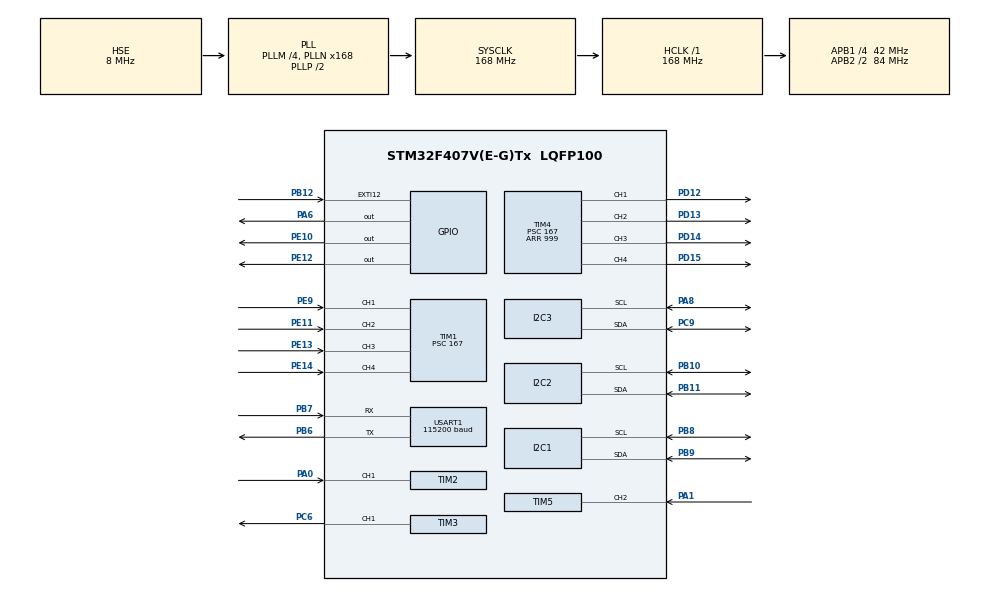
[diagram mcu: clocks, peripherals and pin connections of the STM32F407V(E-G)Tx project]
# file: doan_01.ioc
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Dma.I2C3_TX.0.Direction=DMA_MEMORY_TO_PERIPH
Dma.I2C3_TX.0.FIFOMode=DMA_FIFOMODE_DISABLE
Dma.I2C3_TX.0.Instance=DMA1_Stream4
Dma.I2C3_TX.0.MemDataAlignment=DMA_MDATAALIGN_BYTE
Dma.I2C3_TX.0.MemInc=DMA_MINC_ENABLE
Dma.I2C3_TX.0.Mode=DMA_NORMAL
Dma.I2C3_TX.0.PeriphDataAlignment=DMA_PDATAALIGN_BYTE
Dma.I2C3_TX.0.PeriphInc=DMA_PINC_DISABLE
Dma.I2C3_TX.0.Priority=DMA_PRIORITY_LOW
Dma.Request0=I2C3_TX
I2C2.I2C_Mode=I2C_Fast
I2C3.I2C_Mode=I2C_Fast
Mcu.Family=STM32F4
Mcu.Name=STM32F407V(E-G)Tx
Mcu.Package=LQFP100
NVIC.DMA1_Stream4_IRQn=true\:0\:0\:false\:false\:true\:false\:true\:true
NVIC.EXTI15_10_IRQn=true\:2\:0\:true\:false\:true\:true\:true\:true
NVIC.I2C3_ER_IRQn=true\:0\:0\:false\:false\:true\:true\:true\:true
NVIC.I2C3_EV_IRQn=true\:0\:0\:false\:false\:true\:true\:true\:true
NVIC.PriorityGroup=NVIC_PRIORITYGROUP_4
NVIC.TIM1_CC_IRQn=true\:4\:0\:true\:false\:true\:true\:true\:true
NVIC.TIM2_IRQn=true\:1\:0\:true\:false\:true\:true\:true\:true
NVIC.TIM5_IRQn=true\:1\:0\:true\:false\:true\:true\:true\:true
PA0-WKUP.Signal=S_TIM2_CH1_ETR
PA1.Signal=S_TIM5_CH2
PA13.Mode=Serial_Wire
PA13.Signal=SYS_JTMS-SWDIO
PA14.Mode=Serial_Wire
PA14.Signal=SYS_JTCK-SWCLK
PA6.Signal=GPIO_Output
PA8.Mode=I2C
PA8.Signal=I2C3_SCL
PB10.Mode=I2C
PB10.Signal=I2C2_SCL
PB11.Mode=I2C
PB11.Signal=I2C2_SDA
PB12.Signal=GPXTI12
PB6.Mode=Asynchronous
PB6.Signal=USART1_TX
PB7.Mode=Asynchronous
PB7.Signal=USART1_RX
PB8.Mode=I2C
PB8.Signal=I2C1_SCL
PB9.Mode=I2C
PB9.Signal=I2C1_SDA
PC6.Signal=S_TIM3_CH1
PC9.Mode=I2C
PC9.Signal=I2C3_SDA
PD12.Signal=S_TIM4_CH1
PD13.Signal=S_TIM4_CH2
PD14.Signal=S_TIM4_CH3
PD15.Signal=S_TIM4_CH4
PE10.Signal=GPIO_Output
PE11.Signal=S_TIM1_CH2
PE12.Signal=GPIO_Output
PE13.Signal=S_TIM1_CH3
PE14.Signal=S_TIM1_CH4
PE9.Signal=S_TIM1_CH1
PH0-OSC_IN.Mode=HSE-External-Oscillator
PH0-OSC_IN.Signal=RCC_OSC_IN
PH1-OSC_OUT.Mode=HSE-External-Oscillator
PH1-OSC_OUT.Signal=RCC_OSC_OUT
ProjectManager.HeapSize=0x200
ProjectManager.StackSize=0x400
ProjectManager.TargetToolchain=STM32CubeIDE
RCC.48MHZClocksFreq_Value=84000000
RCC.AHBFreq_Value=168000000
RCC.APB1CLKDivider=RCC_HCLK_DIV4
RCC.APB1Freq_Value=42000000
RCC.APB1TimFreq_Value=84000000
RCC.APB2CLKDivider=RCC_HCLK_DIV2
RCC.APB2Freq_Value=84000000
RCC.APB2TimFreq_Value=168000000
RCC.CortexFreq_Value=168000000
RCC.HCLKFreq_Value=168000000
RCC.HSE_VALUE=8000000
RCC.HSI_VALUE=16000000
RCC.LSE_VALUE=32768
RCC.PLLM=4
RCC.PLLN=168
RCC.PLLSourceVirtual=RCC_PLLSOURCE_HSE
RCC.SYSCLKFreq_VALUE=168000000
RCC.SYSCLKSource=RCC_SYSCLKSOURCE_PLLCLK
RCC.VCOOutputFreq_Value=336000000
SH.S_TIM1_CH1.0=TIM1_CH1,Input_Capture1_from_TI1
SH.S_TIM1_CH2.0=TIM1_CH2,Input_Capture2_from_TI2
SH.S_TIM1_CH3.0=TIM1_CH3,Input_Capture3_from_TI3
SH.S_TIM1_CH4.0=TIM1_CH4,Input_Capture4_from_TI4
SH.S_TIM2_CH1_ETR.0=TIM2_CH1,Input_Capture1_from_TI1
SH.S_TIM3_CH1.0=TIM3_CH1,PWM Generation1 CH1
SH.S_TIM4_CH1.0=TIM4_CH1,PWM Generation1 CH1
SH.S_TIM4_CH2.0=TIM4_CH2,PWM Generation2 CH2
SH.S_TIM4_CH3.0=TIM4_CH3,PWM Generation3 CH3
SH.S_TIM4_CH4.0=TIM4_CH4,PWM Generation4 CH4
SH.S_TIM5_CH2.0=TIM5_CH2,Input_Capture2_from_TI2
TIM1.Channel-Input_Capture1_from_TI1=TIM_CHANNEL_1
TIM1.Channel-Input_Capture2_from_TI2=TIM_CHANNEL_2
TIM1.Channel-Input_Capture3_from_TI3=TIM_CHANNEL_3
TIM1.Channel-Input_Capture4_from_TI4=TIM_CHANNEL_4
TIM1.ICFilter_CH2=4
TIM1.ICFilter_CH3=4
TIM1.ICFilter_CH4=4
TIM1.Prescaler=167
TIM2.Channel-Input_Capture1_from_TI1=TIM_CHANNEL_1
TIM2.ICFilter_CH1=7
TIM2.Prescaler=83
TIM3.Channel-PWM\ Generation1\ CH1=TIM_CHANNEL_1
TIM3.Period=19999
TIM3.Prescaler=83
TIM4.Channel-PWM\ Generation1\ CH1=TIM_CHANNEL_1
TIM4.Channel-PWM\ Generation2\ CH2=TIM_CHANNEL_2
TIM4.Channel-PWM\ Generation3\ CH3=TIM_CHANNEL_3
TIM4.Channel-PWM\ Generation4\ CH4=TIM_CHANNEL_4
TIM4.Period=999
TIM4.Prescaler=167
TIM5.Channel-Input_Capture2_from_TI2=TIM_CHANNEL_2
TIM5.ICFilter_CH2=7
TIM5.Prescaler=83
USART1.BaudRate=115200
USART1.VirtualMode=VM_ASYNC
VP_TIM1_VS_ClockSourceINT.Mode=Internal
VP_TIM2_VS_ClockSourceINT.Mode=Internal
VP_TIM3_VS_ClockSourceINT.Mode=Internal
VP_TIM4_VS_ClockSourceINT.Mode=Internal
VP_TIM5_VS_ClockSourceINT.Mode=Internal
board=custom

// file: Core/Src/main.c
/* USER CODE BEGIN Header */
/**
  ******************************************************************************
  * @file           : main.c
  * @brief          : Main program body
  ******************************************************************************
  * @attention
  *
  * Copyright (c) 2026 STMicroelectronics.
  * All rights reserved.
  *
  * This software is licensed under terms that can be found in the LICENSE file
  * in the root directory of this software component.
  * If no LICENSE file comes with this software, it is provided AS-IS.
  *
  ******************************************************************************
  */
/* USER CODE END Header */
#include "main.h"

/* USER CODE BEGIN Includes */
#include "robot.h"
#include "string.h"
#include "stdio.h"

/* USER CODE END Includes */

I2C_HandleTypeDef hi2c1;
I2C_HandleTypeDef hi2c2;
I2C_HandleTypeDef hi2c3;
DMA_HandleTypeDef hdma_i2c3_tx;

TIM_HandleTypeDef htim1;
TIM_HandleTypeDef htim2;
TIM_HandleTypeDef htim3;
TIM_HandleTypeDef htim4;
TIM_HandleTypeDef htim5;

UART_HandleTypeDef huart1;

void SystemClock_Config(void);
static void MX_GPIO_Init(void);
static void MX_DMA_Init(void);
static void MX_TIM4_Init(void);
static void MX_TIM5_Init(void);
static void MX_I2C2_Init(void);
static void MX_TIM2_Init(void);
static void MX_USART1_UART_Init(void);
static void MX_TIM1_Init(void);
static void MX_I2C1_Init(void);
static void MX_TIM3_Init(void);
static void MX_I2C3_Init(void);

/* USER CODE BEGIN 0 */
uint16_t di = 0;
char uart_buf[200];
u32 prev_10ms = 0;
_vo u32 g_ms = 0;
 _vo float g_sp_v =0.0f,g_sp_w = 0.0f;
i16 p_l ,p_r ;
float sr ,sl ;
_vo u8  Flag_Target ;
_vo float heading_target = 0.0f;
statInfo_t_VL53L0X stat;
_vo u8  Flag = 0;
u8 state = 0;
void Debug_Print1(void)
{

    // Sửa lại định dạng chuỗi: Thêm dấu '>' trước mỗi tên biến để TelePlot nhận diện được từng biến riêng biệt
    static u32 t_uart = 0u;
    u32 now = HAL_GetTick();
    if ((u32)(now - t_uart) < 50u) {
        return;
    }
    t_uart = now;
    float yaw_err = mpu6050_angleDiff(heading_target, yaw);
    sprintf(uart_buf,
            ">setL:%.3f velL:%.3f pwmL:%d setR:%.3f velR:%.3f pwmR:%d yaw:%.2f target:%.2f err:%.2f\n",
            sl,
            ec_l.vel,
            p_l,
            sr,
            ec_r.vel,
            p_r,
            yaw,
            heading_target,
            yaw_err);

        HAL_UART_Transmit(&huart1, (u8*)uart_buf, strlen(uart_buf), 30);

}
void Debug_Print2(void)
{
    char *msg = "Hello\r\n";
    HAL_UART_Transmit(&huart1, (uint8_t*)msg, strlen(msg), 100);
}
void Debug_Print(void)
{
    // Sử dụng trực tiếp biến toàn cục lidarDistance từ file navigation.h
    sprintf(uart_buf, "%.2f///%.2f %d   //%.2f///%.2f/ %d\n",
            sl,
            ec_l.vel,
            p_l,
            sr,
            ec_r.vel,
            p_r
           );
    HAL_UART_Transmit(&huart1, (u8*)uart_buf, strlen(uart_buf), 10);
}
/* USER CODE END 0 */

int main(void)
{

  /* MCU Configuration--------------------------------------------------------*/

  /* Reset of all peripherals, Initializes the Flash interface and the Systick. */
  HAL_Init();

  /* Configure the system clock */
  SystemClock_Config();

  /* Initialize all configured peripherals */
  MX_GPIO_Init();
  MX_DMA_Init();
  MX_TIM4_Init();
  MX_TIM5_Init();
  MX_I2C2_Init();
  MX_TIM2_Init();
  MX_USART1_UART_Init();
  MX_TIM1_Init();
  MX_I2C1_Init();
  MX_TIM3_Init();
  MX_I2C3_Init();
  /* USER CODE BEGIN 2 */

  Robot_Init();

  //Debug_Print2();
 // scanner_lock_angle(180);
  /* USER CODE END 2 */

  /* Infinite loop */
  while (1)
  {

    /* USER CODE BEGIN 3 */
	  Robot_Loop();

	  //Debug_Print1();
	  /*
     static u8 side = 0u;
     static u8 straight_lock = 0u;

     if(state == 0)
     {
         if(!straight_lock)
         {
             ec_l.dist = 0.0f;
             ec_r.dist = 0.0f;
             HeadingHold_SetTarget(yaw);
             straight_lock = 1u;
         }

         g_sp_v = 0.13f;

         float d = (ABS_F(ec_l.dist) + ABS_F(ec_r.dist)) * 0.5f;
         if(d >= 1.0f)
         {
             g_sp_v = 0.0f;
             straight_lock = 0u;
             turn_start(90.0f);
             state = 1u;
         }
     }
     else if(state == 1)
     {
         g_sp_v = 0.0f;

         if(turn.done)
         {
             side++;
             if(side >= 4u)
             {
                 side = 0u;
             }

             ec_l.dist = 0.0f;
             ec_r.dist = 0.0f;
             HeadingHold_SetTarget(yaw);
             state = 0u;
         }
     }

    // Control_Task20ms();
    // Debug_Print();

*/
  }

  /* USER CODE END 3 */
}

void SystemClock_Config(void)
{
  RCC_OscInitTypeDef RCC_OscInitStruct = {0};
  RCC_ClkInitTypeDef RCC_ClkInitStruct = {0};

  /** Configure the main internal regulator output voltage
  */
  __HAL_RCC_PWR_CLK_ENABLE();
  __HAL_PWR_VOLTAGESCALING_CONFIG(PWR_REGULATOR_VOLTAGE_SCALE1);

  /** Initializes the RCC Oscillators according to the specified parameters
  * in the RCC_OscInitTypeDef structure.
  */
  RCC_OscInitStruct.OscillatorType = RCC_OSCILLATORTYPE_HSE;
  RCC_OscInitStruct.HSEState = RCC_HSE_ON;
  RCC_OscInitStruct.PLL.PLLState = RCC_PLL_ON;
  RCC_OscInitStruct.PLL.PLLSource = RCC_PLLSOURCE_HSE;
  RCC_OscInitStruct.PLL.PLLM = 4;
  RCC_OscInitStruct.PLL.PLLN = 168;
  RCC_OscInitStruct.PLL.PLLP = RCC_PLLP_DIV2;
  RCC_OscInitStruct.PLL.PLLQ = 4;
  if (HAL_RCC_OscConfig(&RCC_OscInitStruct) != HAL_OK)
  {
    Error_Handler();
  }

  /** Initializes the CPU, AHB and APB buses clocks
  */
  RCC_ClkInitStruct.ClockType = RCC_CLOCKTYPE_HCLK|RCC_CLOCKTYPE_SYSCLK
                              |RCC_CLOCKTYPE_PCLK1|RCC_CLOCKTYPE_PCLK2;
  RCC_ClkInitStruct.SYSCLKSource = RCC_SYSCLKSOURCE_PLLCLK;
  RCC_ClkInitStruct.AHBCLKDivider = RCC_SYSCLK_DIV1;
  RCC_ClkInitStruct.APB1CLKDivider = RCC_HCLK_DIV4;
  RCC_ClkInitStruct.APB2CLKDivider = RCC_HCLK_DIV2;

  if (HAL_RCC_ClockConfig(&RCC_ClkInitStruct, FLASH_LATENCY_5) != HAL_OK)
  {
    Error_Handler();
  }
}

static void MX_I2C1_Init(void)
{

  hi2c1.Instance = I2C1;
  hi2c1.Init.ClockSpeed = 100000;
  hi2c1.Init.DutyCycle = I2C_DUTYCYCLE_2;
  hi2c1.Init.OwnAddress1 = 0;
  hi2c1.Init.AddressingMode = I2C_ADDRESSINGMODE_7BIT;
  hi2c1.Init.DualAddressMode = I2C_DUALADDRESS_DISABLE;
  hi2c1.Init.OwnAddress2 = 0;
  hi2c1.Init.GeneralCallMode = I2C_GENERALCALL_DISABLE;
  hi2c1.Init.NoStretchMode = I2C_NOSTRETCH_DISABLE;
  if (HAL_I2C_Init(&hi2c1) != HAL_OK)
  {
    Error_Handler();
  }

}

static void MX_I2C2_Init(void)
{

  hi2c2.Instance = I2C2;
  hi2c2.Init.ClockSpeed = 400000;
  hi2c2.Init.DutyCycle = I2C_DUTYCYCLE_2;
  hi2c2.Init.OwnAddress1 = 0;
  hi2c2.Init.AddressingMode = I2C_ADDRESSINGMODE_7BIT;
  hi2c2.Init.DualAddressMode = I2C_DUALADDRESS_DISABLE;
  hi2c2.Init.OwnAddress2 = 0;
  hi2c2.Init.GeneralCallMode = I2C_GENERALCALL_DISABLE;
  hi2c2.Init.NoStretchMode = I2C_NOSTRETCH_DISABLE;
  if (HAL_I2C_Init(&hi2c2) != HAL_OK)
  {
    Error_Handler();
  }

}

static void MX_I2C3_Init(void)
{

  hi2c3.Instance = I2C3;
  hi2c3.Init.ClockSpeed = 400000;
  hi2c3.Init.DutyCycle = I2C_DUTYCYCLE_2;
  hi2c3.Init.OwnAddress1 = 0;
  hi2c3.Init.AddressingMode = I2C_ADDRESSINGMODE_7BIT;
  hi2c3.Init.DualAddressMode = I2C_DUALADDRESS_DISABLE;
  hi2c3.Init.OwnAddress2 = 0;
  hi2c3.Init.GeneralCallMode = I2C_GENERALCALL_DISABLE;
  hi2c3.Init.NoStretchMode = I2C_NOSTRETCH_DISABLE;
  if (HAL_I2C_Init(&hi2c3) != HAL_OK)
  {
    Error_Handler();
  }

}

static void MX_TIM1_Init(void)
{

  TIM_ClockConfigTypeDef sClockSourceConfig = {0};
  TIM_MasterConfigTypeDef sMasterConfig = {0};
  TIM_IC_InitTypeDef sConfigIC = {0};

  htim1.Instance = TIM1;
  htim1.Init.Prescaler = 167;
  htim1.Init.CounterMode = TIM_COUNTERMODE_UP;
  htim1.Init.Period = 65535;
  htim1.Init.ClockDivision = TIM_CLOCKDIVISION_DIV1;
  htim1.Init.RepetitionCounter = 0;
  htim1.Init.AutoReloadPreload = TIM_AUTORELOAD_PRELOAD_DISABLE;
  if (HAL_TIM_Base_Init(&htim1) != HAL_OK)
  {
    Error_Handler();
  }
  sClockSourceConfig.ClockSource = TIM_CLOCKSOURCE_INTERNAL;
  if (HAL_TIM_ConfigClockSource(&htim1, &sClockSourceConfig) != HAL_OK)
  {
    Error_Handler();
  }
  if (HAL_TIM_IC_Init(&htim1) != HAL_OK)
  {
    Error_Handler();
  }
  sMasterConfig.MasterOutputTrigger = TIM_TRGO_RESET;
  sMasterConfig.MasterSlaveMode = TIM_MASTERSLAVEMODE_DISABLE;
  if (HAL_TIMEx_MasterConfigSynchronization(&htim1, &sMasterConfig) != HAL_OK)
  {
    Error_Handler();
  }
  sConfigIC.ICPolarity = TIM_INPUTCHANNELPOLARITY_RISING;
  sConfigIC.ICSelection = TIM_ICSELECTION_DIRECTTI;
  sConfigIC.ICPrescaler = TIM_ICPSC_DIV1;
  sConfigIC.ICFilter = 0;
  if (HAL_TIM_IC_ConfigChannel(&htim1, &sConfigIC, TIM_CHANNEL_1) != HAL_OK)
  {
    Error_Handler();
  }
  sConfigIC.ICFilter = 4;
  if (HAL_TIM_IC_ConfigChannel(&htim1, &sConfigIC, TIM_CHANNEL_2) != HAL_OK)
  {
    Error_Handler();
  }
  if (HAL_TIM_IC_ConfigChannel(&htim1, &sConfigIC, TIM_CHANNEL_3) != HAL_OK)
  {
    Error_Handler();
  }
  if (HAL_TIM_IC_ConfigChannel(&htim1, &sConfigIC, TIM_CHANNEL_4) != HAL_OK)
  {
    Error_Handler();
  }

}

static void MX_TIM2_Init(void)
{

  TIM_ClockConfigTypeDef sClockSourceConfig = {0};
  TIM_MasterConfigTypeDef sMasterConfig = {0};
  TIM_IC_InitTypeDef sConfigIC = {0};

  htim2.Instance = TIM2;
  htim2.Init.Prescaler = 83;
  htim2.Init.CounterMode = TIM_COUNTERMODE_UP;
  htim2.Init.Period = 4294967295;
  htim2.Init.ClockDivision = TIM_CLOCKDIVISION_DIV1;
  htim2.Init.AutoReloadPreload = TIM_AUTORELOAD_PRELOAD_DISABLE;
  if (HAL_TIM_Base_Init(&htim2) != HAL_OK)
  {
    Error_Handler();
  }
  sClockSourceConfig.ClockSource = TIM_CLOCKSOURCE_INTERNAL;
  if (HAL_TIM_ConfigClockSource(&htim2, &sClockSourceConfig) != HAL_OK)
  {
    Error_Handler();
  }
  if (HAL_TIM_IC_Init(&htim2) != HAL_OK)
  {
    Error_Handler();
  }
  sMasterConfig.MasterOutputTrigger = TIM_TRGO_RESET;
  sMasterConfig.MasterSlaveMode = TIM_MASTERSLAVEMODE_DISABLE;
  if (HAL_TIMEx_MasterConfigSynchronization(&htim2, &sMasterConfig) != HAL_OK)
  {
    Error_Handler();
  }
  sConfigIC.ICPolarity = TIM_INPUTCHANNELPOLARITY_RISING;
  sConfigIC.ICSelection = TIM_ICSELECTION_DIRECTTI;
  sConfigIC.ICPrescaler = TIM_ICPSC_DIV1;
  sConfigIC.ICFilter = 7;
  if (HAL_TIM_IC_ConfigChannel(&htim2, &sConfigIC, TIM_CHANNEL_1) != HAL_OK)
  {
    Error_Handler();
  }

}

static void MX_TIM3_Init(void)
{

  TIM_ClockConfigTypeDef sClockSourceConfig = {0};
  TIM_MasterConfigTypeDef sMasterConfig = {0};
  TIM_OC_InitTypeDef sConfigOC = {0};

  htim3.Instance = TIM3;
  htim3.Init.Prescaler = 83;
  htim3.Init.CounterMode = TIM_COUNTERMODE_UP;
  htim3.Init.Period = 19999;
  htim3.Init.ClockDivision = TIM_CLOCKDIVISION_DIV1;
  htim3.Init.AutoReloadPreload = TIM_AUTORELOAD_PRELOAD_DISABLE;
  if (HAL_TIM_Base_Init(&htim3) != HAL_OK)
  {
    Error_Handler();
  }
  sClockSourceConfig.ClockSource = TIM_CLOCKSOURCE_INTERNAL;
  if (HAL_TIM_ConfigClockSource(&htim3, &sClockSourceConfig) != HAL_OK)
  {
    Error_Handler();
  }
  if (HAL_TIM_PWM_Init(&htim3) != HAL_OK)
  {
    Error_Handler();
  }
  sMasterConfig.MasterOutputTrigger = TIM_TRGO_RESET;
  sMasterConfig.MasterSlaveMode = TIM_MASTERSLAVEMODE_DISABLE;
  if (HAL_TIMEx_MasterConfigSynchronization(&htim3, &sMasterConfig) != HAL_OK)
  {
    Error_Handler();
  }
  sConfigOC.OCMode = TIM_OCMODE_PWM1;
  sConfigOC.Pulse = 0;
  sConfigOC.OCPolarity = TIM_OCPOLARITY_HIGH;
  sConfigOC.OCFastMode = TIM_OCFAST_DISABLE;
  if (HAL_TIM_PWM_ConfigChannel(&htim3, &sConfigOC, TIM_CHANNEL_1) != HAL_OK)
  {
    Error_Handler();
  }
  HAL_TIM_MspPostInit(&htim3);

}

static void MX_TIM4_Init(void)
{

  TIM_ClockConfigTypeDef sClockSourceConfig = {0};
  TIM_MasterConfigTypeDef sMasterConfig = {0};
  TIM_OC_InitTypeDef sConfigOC = {0};

  htim4.Instance = TIM4;
  htim4.Init.Prescaler = 167;
  htim4.Init.CounterMode = TIM_COUNTERMODE_UP;
  htim4.Init.Period = 999;
  htim4.Init.ClockDivision = TIM_CLOCKDIVISION_DIV1;
  htim4.Init.AutoReloadPreload = TIM_AUTORELOAD_PRELOAD_DISABLE;
  if (HAL_TIM_Base_Init(&htim4) != HAL_OK)
  {
    Error_Handler();
  }
  sClockSourceConfig.ClockSource = TIM_CLOCKSOURCE_INTERNAL;
  if (HAL_TIM_ConfigClockSource(&htim4, &sClockSourceConfig) != HAL_OK)
  {
    Error_Handler();
  }
  if (HAL_TIM_PWM_Init(&htim4) != HAL_OK)
  {
    Error_Handler();
  }
  sMasterConfig.MasterOutputTrigger = TIM_TRGO_RESET;
  sMasterConfig.MasterSlaveMode = TIM_MASTERSLAVEMODE_DISABLE;
  if (HAL_TIMEx_MasterConfigSynchronization(&htim4, &sMasterConfig) != HAL_OK)
  {
    Error_Handler();
  }
  sConfigOC.OCMode = TIM_OCMODE_PWM1;
  sConfigOC.Pulse = 0;
  sConfigOC.OCPolarity = TIM_OCPOLARITY_HIGH;
  sConfigOC.OCFastMode = TIM_OCFAST_DISABLE;
  if (HAL_TIM_PWM_ConfigChannel(&htim4, &sConfigOC, TIM_CHANNEL_1) != HAL_OK)
  {
    Error_Handler();
  }
  if (HAL_TIM_PWM_ConfigChannel(&htim4, &sConfigOC, TIM_CHANNEL_2) != HAL_OK)
  {
    Error_Handler();
  }
  if (HAL_TIM_PWM_ConfigChannel(&htim4, &sConfigOC, TIM_CHANNEL_3) != HAL_OK)
  {
    Error_Handler();
  }
  if (HAL_TIM_PWM_ConfigChannel(&htim4, &sConfigOC, TIM_CHANNEL_4) != HAL_OK)
  {
    Error_Handler();
  }
  HAL_TIM_MspPostInit(&htim4);

}

static void MX_TIM5_Init(void)
{

  TIM_ClockConfigTypeDef sClockSourceConfig = {0};
  TIM_MasterConfigTypeDef sMasterConfig = {0};
  TIM_IC_InitTypeDef sConfigIC = {0};

  htim5.Instance = TIM5;
  htim5.Init.Prescaler = 83;
  htim5.Init.CounterMode = TIM_COUNTERMODE_UP;
  htim5.Init.Period = 4294967295;
  htim5.Init.ClockDivision = TIM_CLOCKDIVISION_DIV1;
  htim5.Init.AutoReloadPreload = TIM_AUTORELOAD_PRELOAD_DISABLE;
  if (HAL_TIM_Base_Init(&htim5) != HAL_OK)
  {
    Error_Handler();
  }
  sClockSourceConfig.ClockSource = TIM_CLOCKSOURCE_INTERNAL;
  if (HAL_TIM_ConfigClockSource(&htim5, &sClockSourceConfig) != HAL_OK)
  {
    Error_Handler();
  }
  if (HAL_TIM_IC_Init(&htim5) != HAL_OK)
  {
    Error_Handler();
  }
  sMasterConfig.MasterOutputTrigger = TIM_TRGO_RESET;
  sMasterConfig.MasterSlaveMode = TIM_MASTERSLAVEMODE_DISABLE;
  if (HAL_TIMEx_MasterConfigSynchronization(&htim5, &sMasterConfig) != HAL_OK)
  {
    Error_Handler();
  }
  sConfigIC.ICPolarity = TIM_INPUTCHANNELPOLARITY_RISING;
  sConfigIC.ICSelection = TIM_ICSELECTION_DIRECTTI;
  sConfigIC.ICPrescaler = TIM_ICPSC_DIV1;
  sConfigIC.ICFilter = 7;
  if (HAL_TIM_IC_ConfigChannel(&htim5, &sConfigIC, TIM_CHANNEL_2) != HAL_OK)
  {
    Error_Handler();
  }

}

static void MX_USART1_UART_Init(void)
{

  huart1.Instance = USART1;
  huart1.Init.BaudRate = 115200;
  huart1.Init.WordLength = UART_WORDLENGTH_8B;
  huart1.Init.StopBits = UART_STOPBITS_1;
  huart1.Init.Parity = UART_PARITY_NONE;
  huart1.Init.Mode = UART_MODE_TX_RX;
  huart1.Init.HwFlowCtl = UART_HWCONTROL_NONE;
  huart1.Init.OverSampling = UART_OVERSAMPLING_16;
  if (HAL_UART_Init(&huart1) != HAL_OK)
  {
    Error_Handler();
  }

}

static void MX_DMA_Init(void)
{

  /* DMA controller clock enable */
  __HAL_RCC_DMA1_CLK_ENABLE();

  /* DMA interrupt init */
  /* DMA1_Stream4_IRQn interrupt configuration */
  HAL_NVIC_SetPriority(DMA1_Stream4_IRQn, 0, 0);
  HAL_NVIC_EnableIRQ(DMA1_Stream4_IRQn);

}

static void MX_GPIO_Init(void)
{
  GPIO_InitTypeDef GPIO_InitStruct = {0};

  /* GPIO Ports Clock Enable */
  __HAL_RCC_GPIOH_CLK_ENABLE();
  __HAL_RCC_GPIOA_CLK_ENABLE();
  __HAL_RCC_GPIOE_CLK_ENABLE();
  __HAL_RCC_GPIOB_CLK_ENABLE();
  __HAL_RCC_GPIOD_CLK_ENABLE();
  __HAL_RCC_GPIOC_CLK_ENABLE();

  /*Configure GPIO pin Output Level */
  HAL_GPIO_WritePin(GPIOA, GPIO_PIN_6, GPIO_PIN_RESET);

  /*Configure GPIO pin Output Level */
  HAL_GPIO_WritePin(GPIOE, GPIO_PIN_10|GPIO_PIN_12, GPIO_PIN_RESET);

  /*Configure GPIO pin : PA6 */
  GPIO_InitStruct.Pin = GPIO_PIN_6;
  GPIO_InitStruct.Mode = GPIO_MODE_OUTPUT_PP;
  GPIO_InitStruct.Pull = GPIO_NOPULL;
  GPIO_InitStruct.Speed = GPIO_SPEED_FREQ_LOW;
  HAL_GPIO_Init(GPIOA, &GPIO_InitStruct);

  /*Configure GPIO pins : PE10 PE12 */
  GPIO_InitStruct.Pin = GPIO_PIN_10|GPIO_PIN_12;
  GPIO_InitStruct.Mode = GPIO_MODE_OUTPUT_PP;
  GPIO_InitStruct.Pull = GPIO_NOPULL;
  GPIO_InitStruct.Speed = GPIO_SPEED_FREQ_LOW;
  HAL_GPIO_Init(GPIOE, &GPIO_InitStruct);

  /*Configure GPIO pin : PB12 */
  GPIO_InitStruct.Pin = GPIO_PIN_12;
  GPIO_InitStruct.Mode = GPIO_MODE_IT_RISING;
  GPIO_InitStruct.Pull = GPIO_NOPULL;
  HAL_GPIO_Init(GPIOB, &GPIO_InitStruct);

  /* EXTI interrupt init*/
  HAL_NVIC_SetPriority(EXTI15_10_IRQn, 2, 0);
  HAL_NVIC_EnableIRQ(EXTI15_10_IRQn);

}

void Error_Handler(void)
{
  __disable_irq();
  while (1)
  {
  }
}
